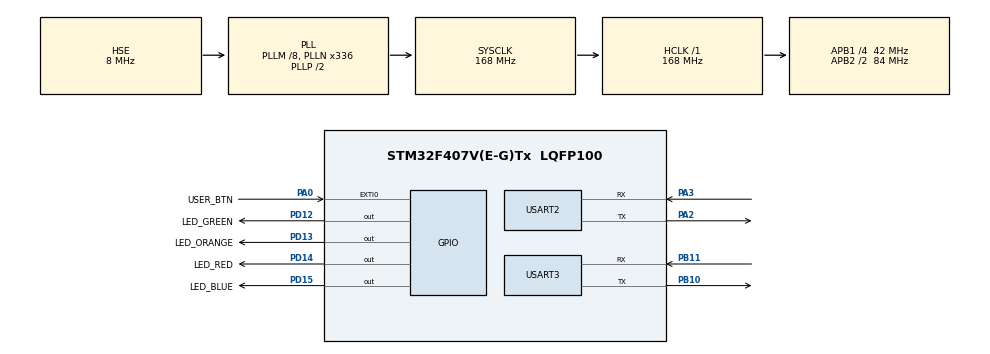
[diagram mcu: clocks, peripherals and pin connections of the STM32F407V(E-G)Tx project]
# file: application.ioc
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Mcu.Family=STM32F4
Mcu.Name=STM32F407V(E-G)Tx
Mcu.Package=LQFP100
NVIC.EXTI0_IRQn=true\:0\:0\:false\:false\:true\:true\:true\:true
NVIC.PriorityGroup=NVIC_PRIORITYGROUP_0
NVIC.USART3_IRQn=true\:0\:0\:false\:false\:true\:true\:true\:true
PA0-WKUP.GPIO_Label=USER_BTN
PA0-WKUP.Signal=GPXTI0
PA13.Mode=Serial_Wire
PA13.Signal=SYS_JTMS-SWDIO
PA14.Mode=Serial_Wire
PA14.Signal=SYS_JTCK-SWCLK
PA2.Mode=Asynchronous
PA2.Signal=USART2_TX
PA3.Mode=Asynchronous
PA3.Signal=USART2_RX
PB10.Mode=Asynchronous
PB10.Signal=USART3_TX
PB11.Mode=Asynchronous
PB11.Signal=USART3_RX
PD12.GPIO_Label=LED_GREEN
PD12.Signal=GPIO_Output
PD13.GPIO_Label=LED_ORANGE
PD13.Signal=GPIO_Output
PD14.GPIO_Label=LED_RED
PD14.Signal=GPIO_Output
PD15.GPIO_Label=LED_BLUE
PD15.Signal=GPIO_Output
PH0-OSC_IN.Mode=HSE-External-Oscillator
PH0-OSC_IN.Signal=RCC_OSC_IN
PH1-OSC_OUT.Mode=HSE-External-Oscillator
PH1-OSC_OUT.Signal=RCC_OSC_OUT
ProjectManager.HeapSize=0x200
ProjectManager.StackSize=0x400
ProjectManager.TargetToolchain=CMake
RCC.48MHZClocksFreq_Value=48000000
RCC.AHBFreq_Value=168000000
RCC.APB1CLKDivider=RCC_HCLK_DIV4
RCC.APB1Freq_Value=42000000
RCC.APB1TimFreq_Value=84000000
RCC.APB2CLKDivider=RCC_HCLK_DIV2
RCC.APB2Freq_Value=84000000
RCC.APB2TimFreq_Value=168000000
RCC.CortexFreq_Value=168000000
RCC.HCLKFreq_Value=168000000
RCC.HSE_VALUE=8000000
RCC.HSI_VALUE=16000000
RCC.LSE_VALUE=32768
RCC.PLLM=8
RCC.PLLN=336
RCC.PLLQ=7
RCC.PLLSourceVirtual=RCC_PLLSOURCE_HSE
RCC.SYSCLKFreq_VALUE=168000000
RCC.SYSCLKSource=RCC_SYSCLKSOURCE_PLLCLK
RCC.VCOOutputFreq_Value=336000000
USART2.VirtualMode=VM_ASYNC
USART3.VirtualMode=VM_ASYNC
board=STM32F407G-DISC1

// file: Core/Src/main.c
/* USER CODE BEGIN Header */
/**
  ******************************************************************************
  * @file           : main.c
  * @brief          : Main program body
  ******************************************************************************
  * @attention
  *
  * Copyright (c) 2026 STMicroelectronics.
  * All rights reserved.
  *
  * This software is licensed under terms that can be found in the LICENSE file
  * in the root directory of this software component.
  * If no LICENSE file comes with this software, it is provided AS-IS.
  *
  ******************************************************************************
  */
/* USER CODE END Header */
#include "main.h"

/* USER CODE BEGIN Includes */
#include "flash_layout.h"
#include "app_header.h"
#include "app_ota.h"
#include "stm32f4xx_hal_flash.h"
#include "stm32f4xx_hal_flash_ex.h"
#include <string.h>
#include "flash_operations.h"
#include <stdio.h>
#include <stdarg.h>

#define APP_MAGIC       0xABCABC

#define START_BYTE  0xAA
#define END_BYTE    0xBB
#define ACK         0x06
#define NACK        0x15

#define CHUNK_SIZE  128
/* USER CODE END Includes */

UART_HandleTypeDef huart2;
UART_HandleTypeDef huart3;

void SystemClock_Config(void);
static void MX_GPIO_Init(void);
static void MX_USART2_UART_Init(void);
static void MX_USART3_UART_Init(void);

/* USER CODE BEGIN 0 */

__attribute__((section(".header")))
const app_header_t app_header = {
    .magic   = APP_MAGIC,
    .size    = 16856,
    .crc     = 0x4777E0DB,
    .version = 0
};

volatile uint8_t ota_request_pending = 0;

/**
  * @brief  Print a string to console over UART.
  * @param  format: Format string as in printf.
  * @param  ...: Additional arguments providing the data to print.
  * @retval None
  */
void print(char *format,...){
  char str[80];

  /*Extract the the argument list using VA apis */
  va_list args;
  va_start(args, format);
  vsprintf(str, format,args);
  HAL_UART_Transmit(&huart2,(uint8_t *)str, strlen(str),HAL_MAX_DELAY);
  va_end(args);
}

void ota_receive_and_store(void)
{
    uint8_t byte = 0;

    // 🔹 Step 0: Prepare Flash
    HAL_FLASH_Unlock();
    flash_erase_sector(OTA_START_SECTOR);
    print("OTA section flash erased\n");

    // 🔹 Step 1: Request OTA
    uint8_t ota_cmd[] = "OTA\n";
    HAL_UART_Transmit(&huart3, ota_cmd, sizeof(ota_cmd) - 1, HAL_MAX_DELAY);

    // 🔹 Step 2: Wait for START byte
    do {
        HAL_UART_Receive(&huart3, &byte, 1, HAL_MAX_DELAY);
    } while (byte != START_BYTE);

    print("received start byte: %x\n", byte);

    // 🔹 Step 3: Receive firmware size
    uint32_t size = 0;
    HAL_UART_Receive(&huart3, (uint8_t*)&size, 4, HAL_MAX_DELAY);
    print("firmware size: %lu\n", size);

    uint32_t flash_addr = OTA_START_ADDR;
    uint8_t buffer[CHUNK_SIZE];
    uint32_t received = 0;

    // 🔹 Step 4: Receive + Write + ACK loop
    while (received < size)
    {
        uint32_t chunk = (size - received > CHUNK_SIZE) ? CHUNK_SIZE : (size - received);

        // Receive chunk (blocking, reliable)
        if (HAL_UART_Receive(&huart3, buffer, chunk, HAL_MAX_DELAY) != HAL_OK)
        {
            // Clear any hardware lockup before retrying
            huart3.ErrorCode = HAL_UART_ERROR_NONE;
            huart3.RxState = HAL_UART_STATE_READY;

            uint8_t nack = NACK;
            HAL_UART_Transmit(&huart3, &nack, 1, HAL_MAX_DELAY);
            continue; // wait for resend
        }

        // Write chunk to flash (use temp pointer)
        uint32_t temp_addr = flash_addr;
        uint8_t success = 1;

        for (uint32_t i = 0; i < chunk; i += 4)
        {
            uint32_t word = 0xFFFFFFFF;
            uint32_t remaining = (chunk - i >= 4) ? 4 : (chunk - i);

            memcpy(&word, &buffer[i], remaining);

            if (HAL_FLASH_Program(FLASH_TYPEPROGRAM_WORD, temp_addr, word) != HAL_OK)
            {
                success = 0;
                break;
            }

            temp_addr += 4;
        }

        if (success)
        {
            flash_addr = temp_addr;
            received += chunk;

            uint8_t ack = ACK;
            HAL_UART_Transmit(&huart3, &ack, 1, HAL_MAX_DELAY);

            // print("received %lu / %lu\n", received, size);
        }
        else
        {
            uint8_t nack = NACK;
            HAL_UART_Transmit(&huart3, &nack, 1, HAL_MAX_DELAY);
        }
    }

    // 🔹 Step 5: Wait for END byte
    print("waiting for end byte\n");

    // Retry loop in case of overrun errors or stray zero padding bytes
    uint32_t start_tick = HAL_GetTick();
    byte = 0;

    while (HAL_GetTick() - start_tick < 5000)
    {
        if (HAL_UART_Receive(&huart3, &byte, 1, 100) == HAL_OK)
        {
            if (byte == END_BYTE) break;
        }
        else
        {
            // If an Overrun Error occurred, reset the HAL state to unfreeze it
            huart3.ErrorCode = HAL_UART_ERROR_NONE;
            huart3.RxState = HAL_UART_STATE_READY;
        }
    }

    print("received end byte: %d\n", byte);

    if (byte != END_BYTE)
    {
        HAL_FLASH_Lock();
        return;
    }

    HAL_FLASH_Lock();

    // 🔹 Step 6: Trigger Bootloader
    print("triggering bootloader\n");
    enable_ota_request();
}

void HAL_GPIO_EXTI_Callback(uint16_t GPIO_Pin){
    ota_request_pending = 1;
}

/* USER CODE END 0 */

int main(void)
{

  /* MCU Configuration--------------------------------------------------------*/

  /* Reset of all peripherals, Initializes the Flash interface and the Systick. */
  HAL_Init();

  /* USER CODE BEGIN Init */
  SCB->VTOR = APP_START_ADDR;
  __enable_irq();
  /* USER CODE END Init */

  /* Configure the system clock */
  SystemClock_Config();

  /* Initialize all configured peripherals */
  MX_GPIO_Init();
  MX_USART2_UART_Init();
  MX_USART3_UART_Init();
  /* USER CODE BEGIN 2 */
  print("Application code started..");
  /* USER CODE END 2 */

  /* Infinite loop */
  while (1)
  {

    /* USER CODE BEGIN 3 */
    if (ota_request_pending)
    {
      ota_request_pending = 0;
      ota_receive_and_store();
    }

    HAL_GPIO_TogglePin(LED_BLUE_GPIO_Port, LED_BLUE_Pin);
    HAL_Delay(200);
    HAL_GPIO_TogglePin(LED_ORANGE_GPIO_Port, LED_ORANGE_Pin);
    HAL_Delay(200);
    HAL_GPIO_TogglePin(LED_GREEN_GPIO_Port, LED_GREEN_Pin);
    HAL_Delay(200);
    HAL_GPIO_TogglePin(LED_RED_GPIO_Port, LED_RED_Pin);
    HAL_Delay(200);

    print("app version: 1.0.14\n");
  }
  /* USER CODE END 3 */
}

void SystemClock_Config(void)
{
  RCC_OscInitTypeDef RCC_OscInitStruct = {0};
  RCC_ClkInitTypeDef RCC_ClkInitStruct = {0};

  /** Configure the main internal regulator output voltage
  */
  __HAL_RCC_PWR_CLK_ENABLE();
  __HAL_PWR_VOLTAGESCALING_CONFIG(PWR_REGULATOR_VOLTAGE_SCALE1);

  /** Initializes the RCC Oscillators according to the specified parameters
  * in the RCC_OscInitTypeDef structure.
  */
  RCC_OscInitStruct.OscillatorType = RCC_OSCILLATORTYPE_HSE;
  RCC_OscInitStruct.HSEState = RCC_HSE_ON;
  RCC_OscInitStruct.PLL.PLLState = RCC_PLL_ON;
  RCC_OscInitStruct.PLL.PLLSource = RCC_PLLSOURCE_HSE;
  RCC_OscInitStruct.PLL.PLLM = 8;
  RCC_OscInitStruct.PLL.PLLN = 336;
  RCC_OscInitStruct.PLL.PLLP = RCC_PLLP_DIV2;
  RCC_OscInitStruct.PLL.PLLQ = 7;
  if (HAL_RCC_OscConfig(&RCC_OscInitStruct) != HAL_OK)
  {
    Error_Handler();
  }

  /** Initializes the CPU, AHB and APB buses clocks
  */
  RCC_ClkInitStruct.ClockType = RCC_CLOCKTYPE_HCLK|RCC_CLOCKTYPE_SYSCLK
                              |RCC_CLOCKTYPE_PCLK1|RCC_CLOCKTYPE_PCLK2;
  RCC_ClkInitStruct.SYSCLKSource = RCC_SYSCLKSOURCE_PLLCLK;
  RCC_ClkInitStruct.AHBCLKDivider = RCC_SYSCLK_DIV1;
  RCC_ClkInitStruct.APB1CLKDivider = RCC_HCLK_DIV4;
  RCC_ClkInitStruct.APB2CLKDivider = RCC_HCLK_DIV2;

  if (HAL_RCC_ClockConfig(&RCC_ClkInitStruct, FLASH_LATENCY_5) != HAL_OK)
  {
    Error_Handler();
  }
}

static void MX_USART2_UART_Init(void)
{

  huart2.Instance = USART2;
  huart2.Init.BaudRate = 115200;
  huart2.Init.WordLength = UART_WORDLENGTH_8B;
  huart2.Init.StopBits = UART_STOPBITS_1;
  huart2.Init.Parity = UART_PARITY_NONE;
  huart2.Init.Mode = UART_MODE_TX_RX;
  huart2.Init.HwFlowCtl = UART_HWCONTROL_NONE;
  huart2.Init.OverSampling = UART_OVERSAMPLING_16;
  if (HAL_UART_Init(&huart2) != HAL_OK)
  {
    Error_Handler();
  }

}

static void MX_USART3_UART_Init(void)
{

  huart3.Instance = USART3;
  huart3.Init.BaudRate = 115200;
  huart3.Init.WordLength = UART_WORDLENGTH_8B;
  huart3.Init.StopBits = UART_STOPBITS_1;
  huart3.Init.Parity = UART_PARITY_NONE;
  huart3.Init.Mode = UART_MODE_TX_RX;
  huart3.Init.HwFlowCtl = UART_HWCONTROL_NONE;
  huart3.Init.OverSampling = UART_OVERSAMPLING_16;
  if (HAL_UART_Init(&huart3) != HAL_OK)
  {
    Error_Handler();
  }

}

static void MX_GPIO_Init(void)
{
  GPIO_InitTypeDef GPIO_InitStruct = {0};

  /* GPIO Ports Clock Enable */
  __HAL_RCC_GPIOH_CLK_ENABLE();
  __HAL_RCC_GPIOA_CLK_ENABLE();
  __HAL_RCC_GPIOB_CLK_ENABLE();
  __HAL_RCC_GPIOD_CLK_ENABLE();

  /*Configure GPIO pin Output Level */
  HAL_GPIO_WritePin(GPIOD, LED_GREEN_Pin|LED_ORANGE_Pin|LED_RED_Pin|LED_BLUE_Pin, GPIO_PIN_RESET);

  /*Configure GPIO pin : USER_BTN_Pin */
  GPIO_InitStruct.Pin = USER_BTN_Pin;
  GPIO_InitStruct.Mode = GPIO_MODE_IT_RISING;
  GPIO_InitStruct.Pull = GPIO_NOPULL;
  HAL_GPIO_Init(USER_BTN_GPIO_Port, &GPIO_InitStruct);

  /*Configure GPIO pins : LED_GREEN_Pin LED_ORANGE_Pin LED_RED_Pin LED_BLUE_Pin */
  GPIO_InitStruct.Pin = LED_GREEN_Pin|LED_ORANGE_Pin|LED_RED_Pin|LED_BLUE_Pin;
  GPIO_InitStruct.Mode = GPIO_MODE_OUTPUT_PP;
  GPIO_InitStruct.Pull = GPIO_NOPULL;
  GPIO_InitStruct.Speed = GPIO_SPEED_FREQ_LOW;
  HAL_GPIO_Init(GPIOD, &GPIO_InitStruct);

  /* EXTI interrupt init*/
  HAL_NVIC_SetPriority(EXTI0_IRQn, 0, 0);
  HAL_NVIC_EnableIRQ(EXTI0_IRQn);

}

void Error_Handler(void)
{
  __disable_irq();
  while (1)
  {
  }
}
